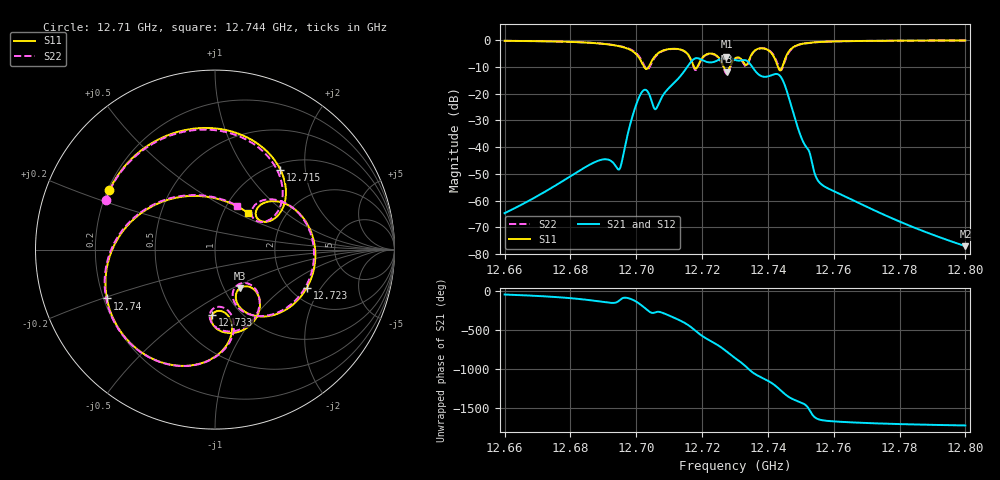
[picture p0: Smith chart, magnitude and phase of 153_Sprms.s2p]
! TOUCHSTONE file generated by CST MICROWAVE STUDIO
! Date and time: Wed Jul 31 18:34:13 2024
! Project name: WaveGuide_BPF-Ver4.1_U-shape_Ku_T3_C4_CWA_2.cst
! Parameters = {cavity_h=16; cavity_l0=10; cavity_l1=15.2322; cavity_l2=16.8791; cavity_l3=17.1102; cavity_l4=17.31; cavity_l5=17.1433; cavity_l6=17.5803; cavity_r=2.5; cavity_screw_l=0.5; cavity_screw_r=1.5; cavity_w=8; iris_h00=0; iris_h01=8.8358; iris_h112=0; iris_h12=5.6099; iris_h211=3.6528; ir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
! Header version: 2018
! Port assignment regex: !\s*Touchstone port\s*([0-9]+)\s*=\s*(CST MWS port|CST DS port)\s*([0-9]+|Zmin|Zmax)\s*\(\"(.*)\"\)(\s*mode\s*([0-9]+))?.*
! Touchstone port assignment:
! Touchstone port 1 = CST MWS port 1 ("")
! Touchstone port 2 = CST MWS port 2 ("")
# GHz S RI R 50
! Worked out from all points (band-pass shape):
!   5001 points, 12.66 GHz to 12.8 GHz, reference 50 ohm
!   highest |S21| = -6.19 dB at 12.727 GHz (marker M1); lowest = -77.0 dB at 12.8 GHz (marker M2)
!   |S21| within 3 dB of the highest: 12.71596 GHz to 12.73476 GHz (18.79 MHz wide, 0.148 % of centre)
!   lowest |S11| = -11.8 dB at 12.727 GHz (marker M3), VSWR 1.69, Z = 59.6 - j27.2 ohm
!   |S11| at or under -10 dB: 12.70238 GHz to 12.70377 GHz (1.393 MHz wide, 0.011 % of centre); 12.72656 GHz to 12.72843 GHz (1.87 MHz wide, 0.0147 % of centre); 12.74306 GHz to 12.74439 GHz (1.329 MHz wide, 0.0104 % of centre) (the widest 3 of 4)
!   |S22| runs from -12.6 to -0.1 dB; largest |S21 - S12| = 1e-09
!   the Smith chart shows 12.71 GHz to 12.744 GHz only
!   S11 on the Smith chart (normalised r, x): 12.71 GHz: 0.21, +0.25; 12.715 GHz: 1.11, +1.48; 12.723 GHz: 2.45, -1.50; 12.733 GHz: 0.75, -0.62; 12.74 GHz: 0.21, -0.21; 12.744 GHz: 1.30, +0.58
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12.66  0.5563 0.7955  0.000449 -0.000375  0.000449 -0.000375  0.5594 0.7934
12.68335  0.9076 -0.0636  -0.000682 -0.00377  -0.000682 -0.00377  0.9087 -0.0627
12.69475  -0.0279 -0.7702  -0.00195 -0.00329  -0.00195 -0.00329  0.000994 -0.7784
12.699  -0.5959 -0.1504  -0.0134 -0.0385  -0.0134 -0.0385  -0.5958 -0.2174
12.70194  -0.0166 0.3546  -0.1092 0.0223  -0.1092 0.0223  -0.1146 0.3663
12.70399  0.2624 -0.2064  -0.0139 0.0945  -0.0139 0.0945  0.2856 -0.1156
12.70668  -0.4547 -0.3467  -0.00856 0.0616  -0.00856 0.0616  -0.3973 -0.3888
12.70967  -0.5881 0.3325  0.0718 0.1  0.0718 0.1  -0.6087 0.2783
12.71533  0.3643 0.4456  0.1432 -0.2694  0.1432 -0.2694  0.3404 0.4542
12.71888  0.2474 0.2438  -0.4563 -0.0059  -0.4563 -0.0059  0.2225 0.2483
12.72331  0.5125 -0.2114  0.1772 0.3452  0.1772 0.3452  0.5058 -0.2057
12.7274  0.1352 -0.2179  0.284 -0.3994  0.284 -0.3994  0.121 -0.2009
12.72748  0.141 -0.2135  0.2635 -0.4131  0.2635 -0.4131  0.1274 -0.196
12.73  0.216 -0.4002  -0.3263 -0.2766  -0.3263 -0.2766  0.2135 -0.3903
12.73283  -0.015 -0.3623  -0.2577 0.3376  -0.2577 0.3376  -0.022 -0.3427
12.73538  0.0246 -0.578  0.2576 0.1665  0.2576 0.1665  0.0408 -0.5681
12.73986  -0.6024 -0.2721  0.0675 -0.1973  0.0675 -0.1973  -0.602 -0.2943
12.74392  0.1812 0.2064  -0.1946 0.0674  -0.1946 0.0674  0.1239 0.2448
12.74789  0.0767 -0.7472  0.0297 0.0266  0.0297 0.0266  0.0989 -0.7316
12.75335  -0.5568 -0.7043  -0.00422 -0.0031  -0.00422 -0.0031  -0.5541 -0.7033
12.77668  -0.9724 0.0576  -1.74e-06 0.0005  -1.74e-06 0.0005  -0.9721 0.0641
12.8  -0.8992 0.4034  5.2e-05 0.000131  5.2e-05 0.000131  -0.8967 0.4091
